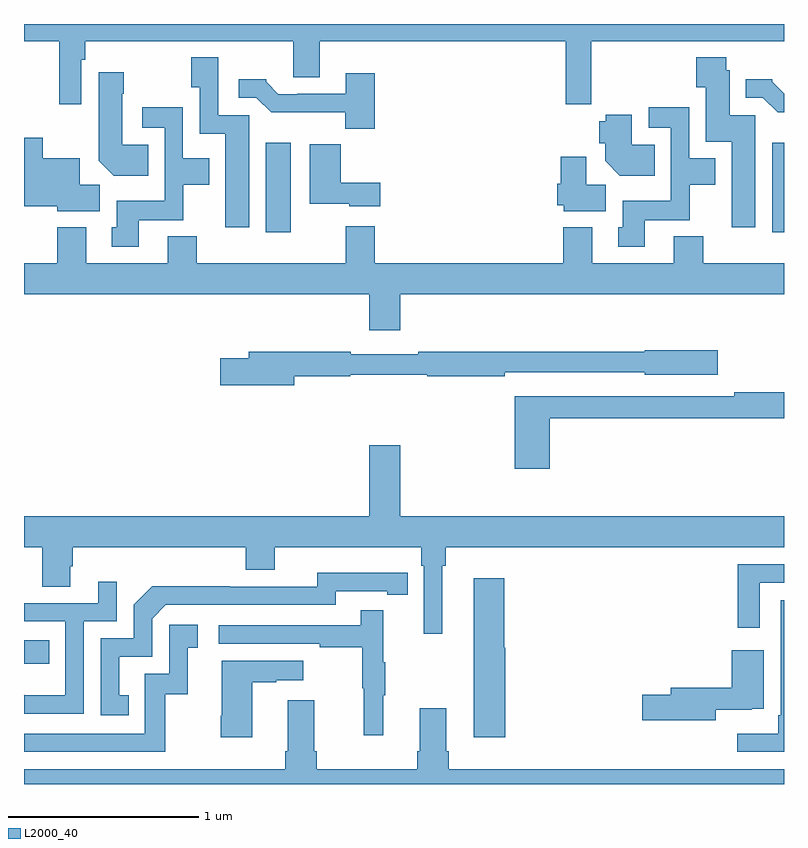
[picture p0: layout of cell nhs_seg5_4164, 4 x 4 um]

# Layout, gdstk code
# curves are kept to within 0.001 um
import gdstk
lib = gdstk.Library(unit=1e-6, precision=1e-09)
def R(c, l, rs):  # rectangles x0, y0, x1, y1
    for r in rs: c.add(gdstk.rectangle(r[:2], r[2:], *l))
def P(c, l, *ps):  # polygons
    for p in ps: c.add(gdstk.Polygon(p, *l))
L2000_40 = (2000, 40)

nhs_seg5_4164 = lib.new_cell('nhs_seg5_4164')
R(nhs_seg5_4164, L2000_40, [(355,905.433,355.133,905.556), (356.273,907.704,356.404,908.173), (358.937,907.704,359,908.173)])
P(nhs_seg5_4164, L2000_40, [(355.302,908.612),(355.322,908.612),(355.322,908.708),(356.417,908.708),(356.417,908.518),(356.557,908.518),(356.557,908.708),(357.85,908.708),(357.85,908.376),(357.986,908.376),(357.986,908.708),(359,908.708),(359,908.799),(355,908.799),(355,908.708),(355.186,908.708),(355.186,908.376),(355.302,908.376)],
  [(356.185,908.319),(356.022,908.319),(356.022,908.623),(355.879,908.623),(355.879,908.467),(355.926,908.467),(355.926,908.222),(356.06,908.222),(356.06,907.728),(356.185,907.728)],
  [(358.849,908.319),(358.714,908.319),(358.714,908.556),(358.695,908.556),(358.695,908.623),(358.538,908.623),(358.538,908.467),(358.589,908.467),(358.589,908.18),(358.724,908.18),(358.724,907.728),(358.849,907.728)],
  [(355.655,908.164),(355.516,908.164),(355.516,908.432),(355.524,908.432),(355.524,908.545),(355.394,908.545),(355.394,908.078),(355.472,908),(355.655,908)],
  [(356.846,908.539),(356.693,908.539),(356.693,908.433),(356.437,908.433),(356.437,908.43),(356.338,908.43),(356.274,908.494),(356.274,908.509),(356.13,908.509),(356.13,908.412),(356.223,908.412),(356.302,908.334),(356.691,908.334),(356.691,908.249),(356.846,908.249)],
  [(359,908.432),(358.938,908.494),(358.938,908.509),(358.799,908.509),(358.799,908.412),(358.887,908.412),(358.966,908.334),(359,908.334)],
  [(358.267,907.766),(358.503,907.766),(358.503,907.952),(358.639,907.952),(358.639,908.092),(358.5,908.092),(358.5,908.362),(358.287,908.362),(358.287,908.253),(358.404,908.253),(358.404,907.87),(358.151,907.87),(358.151,907.728),(358.127,907.728),(358.127,907.626),(358.267,907.626)],
  [(355.603,907.766),(355.839,907.766),(355.839,907.952),(355.975,907.952),(355.975,908.092),(355.836,908.092),(355.836,908.362),(355.623,908.362),(355.623,908.253),(355.74,908.253),(355.74,907.87),(355.487,907.87),(355.487,907.728),(355.463,907.728),(355.463,907.626),(355.603,907.626)],
  [(358.319,908.164),(358.198,908.164),(358.198,908.322),(358.062,908.322),(358.062,908.286),(358.028,908.286),(358.028,908.172),(358.058,908.172),(358.058,908.078),(358.136,908),(358.319,908)],
  [(355.399,907.952),(355.294,907.952),(355.294,908.092),(355.098,908.092),(355.098,908.2),(355,908.2),(355,907.841),(355.176,907.841),(355.176,907.814),(355.399,907.814)],
  [(356.875,907.963),(356.666,907.963),(356.666,908.167),(356.504,908.167),(356.504,907.853),(356.712,907.853),(356.712,907.841),(356.875,907.841)],
  [(358.063,907.952),(357.958,907.952),(357.958,908.101),(357.824,908.101),(357.824,907.959),(357.806,907.959),(357.806,907.845),(357.84,907.845),(357.84,907.814),(358.063,907.814)],
  [(356.98,907.376),(359,907.376),(359,907.54),(358.574,907.54),(358.574,907.681),(358.421,907.681),(358.421,907.54),(357.991,907.54),(357.991,907.729),(357.839,907.729),(357.839,907.54),(356.846,907.54),(356.846,907.735),(356.693,907.735),(356.693,907.54),(355.91,907.54),(355.91,907.681),(355.757,907.681),(355.757,907.54),(355.327,907.54),(355.327,907.729),(355.175,907.729),(355.175,907.54),(355,907.54),(355,907.376),(356.816,907.376),(356.816,907.188),(356.98,907.188)],
  [(356.422,906.946),(356.718,906.946),(356.718,906.954),(357.122,906.954),(357.122,906.946),(357.53,906.946),(357.53,906.966),(358.266,906.966),(358.266,906.953),(358.651,906.953),(358.651,907.083),(358.266,907.083),(358.266,907.075),(357.076,907.075),(357.076,907.062),(356.72,907.062),(356.72,907.075),(356.183,907.075),(356.183,907.041),(356.034,907.041),(356.034,906.899),(356.422,906.899)],
  [(357.767,906.724),(359,906.724),(359,906.86),(358.738,906.86),(358.738,906.84),(357.584,906.84),(357.584,906.459),(357.767,906.459)],
  [(357.202,905.948),(357.221,905.948),(357.221,906.044),(359,906.044),(359,906.208),(356.98,906.208),(356.98,906.583),(356.816,906.583),(356.816,906.208),(355,906.208),(355,906.044),(355.096,906.044),(355.096,905.836),(355.243,905.836),(355.243,905.946),(355.256,905.946),(355.256,906.044),(356.168,906.044),(356.168,905.927),(356.32,905.927),(356.32,906.044),(357.092,906.044),(357.092,905.948),(357.105,905.948),(357.105,905.589),(357.202,905.589)],
  [(358.872,905.859),(359,905.859),(359,905.955),(358.756,905.955),(358.756,905.622),(358.872,905.622)],
  [(355.55,905.265),(355.501,905.265),(355.501,905.469),(355.674,905.469),(355.674,905.67),(355.746,905.742),(356.64,905.742),(356.64,905.814),(356.912,905.814),(356.912,905.794),(357.02,905.794),(357.02,905.91),(356.544,905.911),(356.544,905.838),(356.084,905.838),(356.084,905.84),(355.676,905.84),(355.578,905.742),(355.578,905.565),(355.404,905.565),(355.404,905.16),(355.55,905.16)],
  [(357.532,905.517),(357.527,905.517),(357.527,905.881),(357.368,905.881),(357.368,905.046),(357.532,905.046)],
  [(355.314,905.655),(355.488,905.655),(355.488,905.863),(355.391,905.863),(355.391,905.751),(355,905.751),(355,905.655),(355.218,905.655),(355.218,905.266),(355.004,905.266),(355,905.27),(355,905.169),(355.314,905.169)],
  [(359,905.767),(358.983,905.767),(358.983,905.161),(358.971,905.161),(358.971,905.064),(358.755,905.064),(358.755,904.968),(359,904.968)],
  [(356.891,905.267),(356.902,905.267),(356.902,905.441),(356.891,905.441),(356.891,905.713),(356.773,905.713),(356.773,905.634),(356.025,905.634),(356.025,905.538),(356.557,905.538),(356.557,905.518),(356.781,905.518),(356.781,905.304),(356.788,905.304),(356.788,905.055),(356.891,905.055)],
  [(355.744,905.271),(355.862,905.271),(355.862,905.517),(355.915,905.517),(355.915,905.638),(355.764,905.638),(355.764,905.379),(355.635,905.379),(355.635,905.064),(355,905.064),(355,904.968),(355.744,904.968)],
  [(358.642,905.19),(358.83,905.19),(358.83,905.195),(358.894,905.195),(358.894,905.503),(358.724,905.503),(358.724,905.306),(358.403,905.306),(358.403,905.27),(358.254,905.27),(358.254,905.135),(358.642,905.135)],
  [(356.2,905.335),(356.327,905.335),(356.327,905.345),(356.47,905.345),(356.47,905.449),(356.042,905.449),(356.042,905.158),(356.035,905.158),(356.035,905.046),(356.2,905.046)],
  [(359,904.876),(357.236,904.876),(357.236,904.972),(357.223,904.972),(357.223,905.197),(357.083,905.197),(357.083,904.972),(357.071,904.972),(357.071,904.876),(356.54,904.876),(356.54,904.972),(356.527,904.972),(356.527,905.239),(356.387,905.239),(356.387,904.972),(356.375,904.972),(356.375,904.876),(355,904.876),(355,904.799),(359,904.799)])

lib.write_gds('nhs_seg5_4164.gds')
